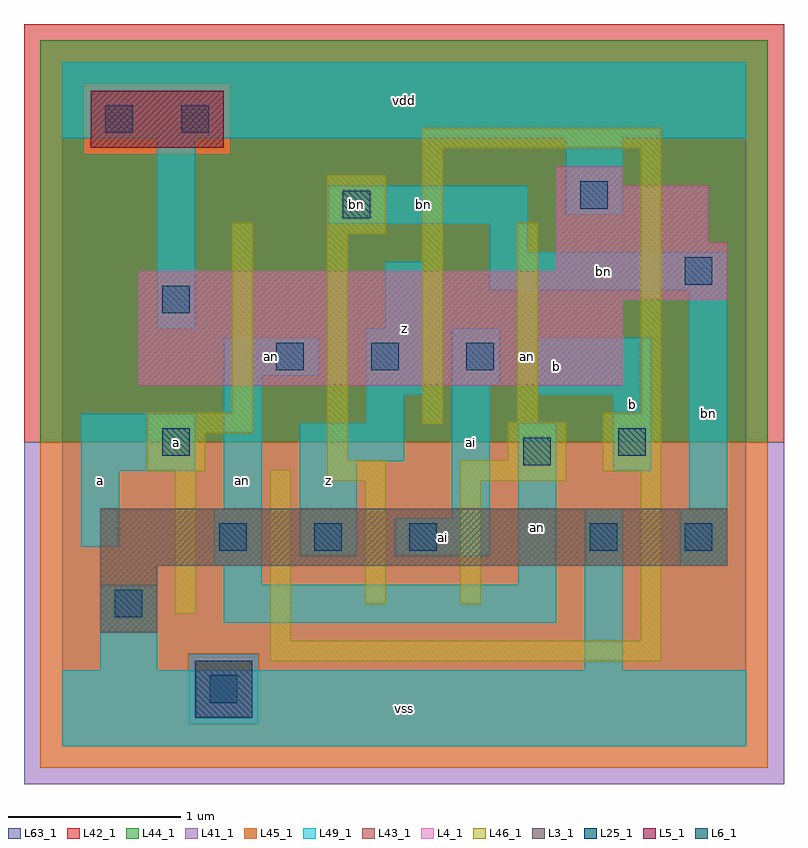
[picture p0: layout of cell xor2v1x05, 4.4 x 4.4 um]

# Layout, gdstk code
import gdstk
lib = gdstk.Library(unit=1e-6, precision=1e-09)
def R(c, l, rs):  # rectangles x0, y0, x1, y1
    for r in rs: c.add(gdstk.rectangle(r[:2], r[2:], *l))
def A(c, l, x, y, w, h, nx, ny, dx, dy):  # array of equal rectangles
    R(c, l, [(x+i*dx, y+j*dy, x+i*dx+w, y+j*dy+h) for i in range(nx) for j in range(ny)])
L3_1 = (3, 1)
L4_1 = (4, 1)
L5_1 = (5, 1)
L6_1 = (6, 1)
L25_1 = (25, 1)
L41_1 = (41, 1)
L42_1 = (42, 1)
L43_1 = (43, 1)
L44_1 = (44, 1)
L45_1 = (45, 1)
L46_1 = (46, 1)
L49_1 = (49, 1)
L63_1 = (63, 1)

xor2v1x05 = lib.new_cell('xor2v1x05')
R(xor2v1x05, L3_1, [(0.22,0.66,0.55,1.045), (0.22,1.045,3.85,1.375)])
R(xor2v1x05, L4_1, [(0.44,2.09,3.245,2.585), (0.44,2.585,3.85,2.75), (2.86,2.75,3.85,2.915), (2.86,2.915,3.74,3.245), (2.86,3.245,3.245,3.355)])
R(xor2v1x05, L5_1, [(0.165,3.465,0.935,3.795)])
R(xor2v1x05, L6_1, [(0.77,0.165,1.1,0.495)])
A(xor2v1x05, L25_1, 0.91, 1.13, 0.16, 0.16, 3, 1, 0.55, 0)
A(xor2v1x05, L25_1, 1.24, 2.175, 0.16, 0.16, 3, 1, 0.55, 0)
R(xor2v1x05, L25_1, [(0.855,0.25,1.015,0.41), (0.305,0.745,0.465,0.905), (3.055,1.13,3.215,1.29), (3.605,1.13,3.765,1.29), (2.67,1.625,2.83,1.785), (0.58,1.68,0.74,1.84), (3.22,1.68,3.38,1.84), (0.58,2.505,0.74,2.665), (3.605,2.67,3.765,2.83), (1.625,3.055,1.785,3.215), (3,3.11,3.16,3.27), (0.25,3.55,0.41,3.71), (0.69,3.55,0.85,3.71)])
R(xor2v1x05, L41_1, [(-0.22,-0.22,4.18,1.76)])
R(xor2v1x05, L42_1, [(-0.22,1.76,4.18,4.18)])
R(xor2v1x05, L43_1, [(0.77,0.165,1.1,0.495), (0.22,0.66,0.55,1.045), (0.22,1.045,3.85,1.375), (0.44,2.09,3.245,2.585), (0.44,2.585,3.85,2.75), (2.86,2.75,3.85,2.915), (2.86,2.915,3.74,3.245), (2.86,3.245,3.245,3.355), (0.165,3.465,0.935,3.795)])
R(xor2v1x05, L44_1, [(0.73,0.125,1.14,0.535), (-0.125,1.76,4.085,3.425), (-0.125,3.425,0.125,3.835), (0.975,3.425,4.085,3.835), (-0.125,3.835,4.085,4.085)])
R(xor2v1x05, L45_1, [(-0.125,-0.125,4.085,0.125), (-0.125,0.125,0.73,0.535), (1.14,0.125,4.085,0.535), (-0.125,0.535,4.085,1.76), (0.125,3.425,0.975,3.835)])
R(xor2v1x05, L46_1, [(1.205,0.49,3.47,0.61), (1.205,0.61,1.325,1.6), (3.35,0.61,3.47,1.59), (0.655,0.765,0.775,1.59), (1.755,0.82,1.875,1.535), (2.305,0.82,2.425,1.535), (1.535,1.535,1.875,1.655), (2.305,1.535,2.92,1.655), (0.49,1.59,0.83,1.81), (3.13,1.59,3.47,1.93), (1.535,1.655,1.655,2.965), (2.58,1.655,2.92,1.875), (0.49,1.81,1.105,1.93), (2.085,1.865,2.205,3.46), (2.635,1.875,2.755,3.03), (0.985,1.93,1.105,3.03), (3.35,1.93,3.47,3.46), (1.535,2.965,1.875,3.305), (2.085,3.46,3.47,3.58)])
R(xor2v1x05, L49_1, [(0,0,3.96,0.44), (0.22,0.44,0.55,0.935), (3.025,0.44,3.245,1.375), (0.935,0.715,2.86,0.935), (0.935,0.935,1.155,1.045), (2.64,0.935,2.86,1.87), (0.88,1.045,1.155,1.375), (3.575,1.045,3.85,1.375), (1.375,1.1,1.705,1.65), (1.925,1.1,2.475,1.32), (0.11,1.155,0.33,1.595), (2.255,1.32,2.475,2.09), (0.935,1.375,1.155,2.145), (3.63,1.375,3.85,2.64), (0.11,1.595,0.77,1.925), (3.19,1.595,3.41,2.035), (1.375,1.65,1.98,1.87), (1.76,1.87,1.98,2.035), (1.76,2.035,2.09,2.42), (2.75,2.035,3.41,2.365), (2.255,2.09,2.53,2.42), (0.935,2.145,1.485,2.365), (0.55,2.42,0.77,3.52), (1.87,2.42,2.09,2.805), (2.475,2.64,3.85,2.86), (2.475,2.86,2.695,3.025), (1.54,3.025,2.695,3.245), (2.915,3.08,3.245,3.52), (0,3.52,3.96,3.96)])
R(xor2v1x05, L63_1, [(0,0,3.96,3.96)])
xor2v1x05.add(gdstk.Label('bn', (1.705,3.135), layer=49, texttype=1))
xor2v1x05.add(gdstk.Label('an', (2.695,2.255), layer=46, texttype=1))
xor2v1x05.add(gdstk.Label('a', (0.22,1.54), layer=49, texttype=1))
xor2v1x05.add(gdstk.Label('a', (0.66,1.76), layer=49, texttype=1))
xor2v1x05.add(gdstk.Label('z', (1.54,1.54), layer=49, texttype=1))
xor2v1x05.add(gdstk.Label('an', (1.045,1.54), layer=49, texttype=1))
xor2v1x05.add(gdstk.Label('an', (1.21,2.255), layer=49, texttype=1))
xor2v1x05.add(gdstk.Label('vss', (1.98,0.22), layer=49, texttype=1))
xor2v1x05.add(gdstk.Label('an', (2.75,1.265), layer=49, texttype=1))
xor2v1x05.add(gdstk.Label('ai', (2.2,1.21), layer=49, texttype=1))
xor2v1x05.add(gdstk.Label('b', (2.86,2.2), layer=49, texttype=1))
xor2v1x05.add(gdstk.Label('ai', (2.365,1.76), layer=49, texttype=1))
xor2v1x05.add(gdstk.Label('z', (1.98,2.42), layer=49, texttype=1))
xor2v1x05.add(gdstk.Label('bn', (2.09,3.135), layer=49, texttype=1))
xor2v1x05.add(gdstk.Label('vdd', (1.98,3.74), layer=49, texttype=1))
xor2v1x05.add(gdstk.Label('b', (3.3,1.98), layer=49, texttype=1))
xor2v1x05.add(gdstk.Label('bn', (3.74,1.925), layer=49, texttype=1))
xor2v1x05.add(gdstk.Label('bn', (3.135,2.75), layer=49, texttype=1))

lib.write_gds('xor2v1x05.gds')
